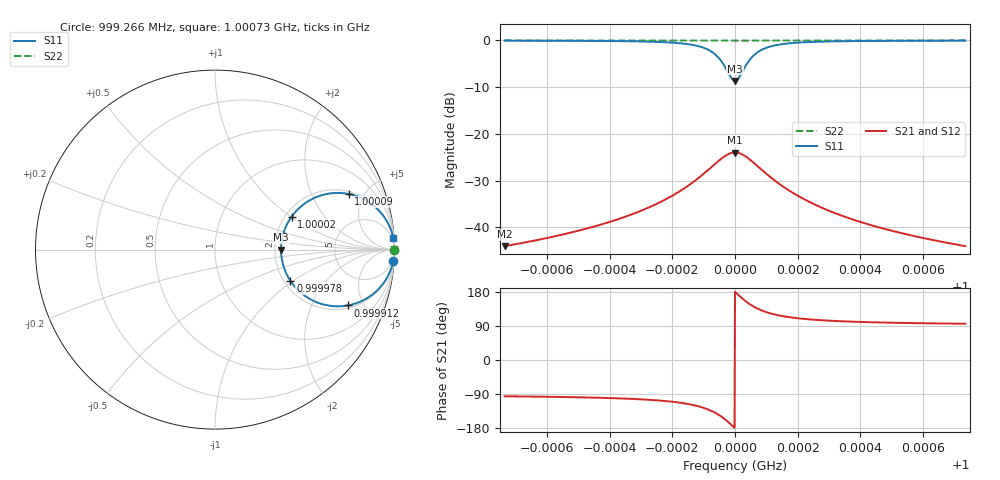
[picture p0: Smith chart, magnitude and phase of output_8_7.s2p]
! File generated for n1 = 8, n2 = 7
! b1 = 0.464159
! b2 = 0.004642
! Q0 = 10000.000000
! f0 = 1000000000.000000
! n = 1001
! rel_span = 10.000000
# Hz S RI R 50
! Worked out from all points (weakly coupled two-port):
!   1001 points, 999.266 MHz to 1.00073 GHz, reference 50 ohm
!   highest |S21| = -23.99 dB at 1 GHz (marker M1); lowest = -44.0 dB at 999.266 MHz (marker M2)
!   lowest |S11| = -8.7 dB at 1 GHz (marker M3), VSWR 2.16, Z = 108 + j0 ohm
!   |S11| at or under -10 dB: nowhere
!   |S22| runs from -0.1 to 0.0 dB; largest |S21 - S12| = 0
!   S11 on the Smith chart (normalised r, x): 999.266 MHz: 2, -32; 999.912 MHz: 2.16, -3.80; 999.978 MHz: 2.16, -0.95; 1.00002 GHz: 2.16, +1.01; 1.00009 GHz: 2.16, +3.86; 1.00073 GHz: 2, +32
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9.992656e8  0.9937 -0.0626  -0.000625 -0.00626  -0.000625 -0.00626  0.9999 -0.000626
9.995109e8  0.9861 -0.0928  -0.00139 -0.00928  -0.00139 -0.00928  0.9999 -0.000928
9.99646e8  0.9739 -0.1257  -0.00261 -0.0126  -0.00261 -0.0126  0.9997 -0.00126
9.997562e8  0.9474 -0.1745  -0.00526 -0.0175  -0.00526 -0.0175  0.9995 -0.00175
9.998502e8  0.8776 -0.2498  -0.0122 -0.025  -0.0122 -0.025  0.9988 -0.0025
9.99884e8  0.8193 -0.2856  -0.0181 -0.0286  -0.0181 -0.0286  0.9982 -0.00286
9.999119e8  0.741 -0.3108  -0.0259 -0.0311  -0.0259 -0.0311  0.9974 -0.00311
9.999486e8  0.5758 -0.2969  -0.0424 -0.0297  -0.0424 -0.0297  0.9958 -0.00297
9.999633e8  0.4944 -0.2528  -0.0506 -0.0253  -0.0506 -0.0253  0.9949 -0.00253
9.99978e8  0.4202 -0.174  -0.058 -0.0174  -0.058 -0.0174  0.9942 -0.00174
9.999912e8  0.3769 -0.0748  -0.0623 -0.00748  -0.0623 -0.00748  0.9938 -0.000748
1e9  0.368 0  -0.0632 0  -0.0632 0  0.9937 0
1.00001e9  0.3801 0.0868  -0.062 0.00868  -0.062 0.00868  0.9938 0.000868
1.000024e9  0.4267 0.1835  -0.0573 0.0183  -0.0573 0.0183  0.9943 0.00183
1.000051e9  0.5758 0.2969  -0.0424 0.0297  -0.0424 0.0297  0.9958 0.00297
1.00009e9  0.746 0.3099  -0.0254 0.031  -0.0254 0.031  0.9975 0.0031
1.000118e9  0.8225 0.2841  -0.0178 0.0284  -0.0178 0.0284  0.9982 0.00284
1.000151e9  0.8795 0.2483  -0.0121 0.0248  -0.0121 0.0248  0.9988 0.00248
1.000245e9  0.948 0.1737  -0.0052 0.0174  -0.0052 0.0174  0.9995 0.00174
1.000355e9  0.9741 0.1253  -0.00259 0.0125  -0.00259 0.0125  0.9997 0.00125
1.000491e9  0.9861 0.0926  -0.00139 0.00926  -0.00139 0.00926  0.9999 0.000926
1.000734e9  0.9937 0.0626  -0.000626 0.00626  -0.000626 0.00626  0.9999 0.000626
